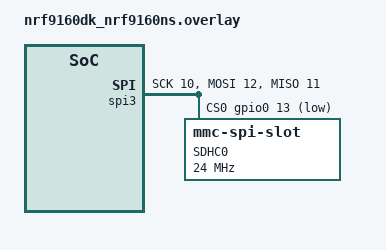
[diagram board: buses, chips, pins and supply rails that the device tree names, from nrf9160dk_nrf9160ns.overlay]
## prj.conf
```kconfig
CONFIG_DISK_ACCESS=y
CONFIG_LOG=y
CONFIG_FILE_SYSTEM=y
CONFIG_FAT_FILESYSTEM_ELM=y
CONFIG_PRINTK=y

# SPI
CONFIG_DISK_ACCESS_SDHC=y
CONFIG_DISK_ACCESS_SPI_SDHC=y
CONFIG_SPI=y
CONFIG_SPI_3=y
CONFIG_SPI_NRFX_RAM_BUFFER_SIZE=8
CONFIG_MAIN_STACK_SIZE=4096
```

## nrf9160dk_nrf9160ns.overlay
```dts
/*
 * Copyright (c) 2019 Tavish Naruka <tavishnaruka@gmail.com>
 *
 * SPDX-License-Identifier: Apache-2.0
 */

&spi3 {
        status = "okay";
        cs-gpios = <&gpio0 13 GPIO_ACTIVE_LOW>;
        sck-pin = <10>;
	mosi-pin = <12>;
	miso-pin = <11>;

        sdhc0: sdhc@0 {
                compatible = "zephyr,mmc-spi-slot";
                reg = <0>;
                status = "okay";
                label = "SDHC0";
                spi-max-frequency = <24000000>;
        };
};
```

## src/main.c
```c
/*
 * Copyright (c) 2019 Tavish Naruka <tavishnaruka@gmail.com>
 *
 * SPDX-License-Identifier: Apache-2.0
 */

/* Sample which uses the filesystem API and SDHC driver */

#include <zephyr.h>
#include <device.h>
#include <disk/disk_access.h>
#include <logging/log.h>
#include <fs/fs.h>
#include <ff.h>

LOG_MODULE_REGISTER(main);

static int lsdir(const char *path);

static FATFS fat_fs;
/* mounting info */
static struct fs_mount_t mp = {
	.type = FS_FATFS,
	.fs_data = &fat_fs,
};

/*
*  Note the fatfs library is able to mount only strings inside _VOLUME_STRS
*  in ffconf.h
*/
static const char *disk_mount_pt = "/SD:";

void main(void)
{
	/* raw disk i/o */
	do {
		static const char *disk_pdrv = "SD";
		uint64_t memory_size_mb;
		uint32_t block_count;
		uint32_t block_size;

		// printk("SPI config: %i, %i, %i, %x\n", NRF_SPIM3->PSEL.MOSI, NRF_SPIM3->PSEL.MISO, NRF_SPIM3->PSEL.SCK, NRF_SPIM3->PSEL.CSN);

		if (disk_access_init(disk_pdrv) != 0) {
			LOG_ERR("Storage init ERROR!");
			break;
		}

		if (disk_access_ioctl(disk_pdrv,
				DISK_IOCTL_GET_SECTOR_COUNT, &block_count)) {
			LOG_ERR("Unable to get sector count");
			break;
		}
		LOG_INF("Block count %u", block_count);

		if (disk_access_ioctl(disk_pdrv,
				DISK_IOCTL_GET_SECTOR_SIZE, &block_size)) {
			LOG_ERR("Unable to get sector size");
			break;
		}
		printk("Sector size %u\n", block_size);

		memory_size_mb = (uint64_t)block_count * block_size;
		printk("Memory Size(MB) %u\n", (uint32_t)(memory_size_mb >> 20));
	} while (0);

	mp.mnt_point = disk_mount_pt;

	int res = fs_mount(&mp);

	if (res == FR_OK) {
		printk("Disk mounted.\n");
		lsdir(disk_mount_pt);
	} else {
		printk("Error mounting disk.\n");
	}

	while (1) {
		k_sleep(K_MSEC(1000));
	}
}

static int lsdir(const char *path)
{
	int res;
	struct fs_dir_t dirp;
	static struct fs_dirent entry;

	/* Verify fs_opendir() */
	res = fs_opendir(&dirp, path);
	if (res) {
		printk("Error opening dir %s [%d]\n", path, res);
		return res;
	}

	printk("\nListing dir %s ...\n", path);
	for (;;) {
		/* Verify fs_readdir() */
		res = fs_readdir(&dirp, &entry);

		/* entry.name[0] == 0 means end-of-dir */
		if (res || entry.name[0] == 0) {
			break;
		}

		if (entry.type == FS_DIR_ENTRY_DIR) {
			printk("[DIR ] %s\n", entry.name);
		} else {
			printk("[FILE] %s (size = %zu)\n",
				entry.name, entry.size);
		}
	}

	/* Verify fs_closedir() */
	fs_closedir(&dirp);

	return res;
}
```
